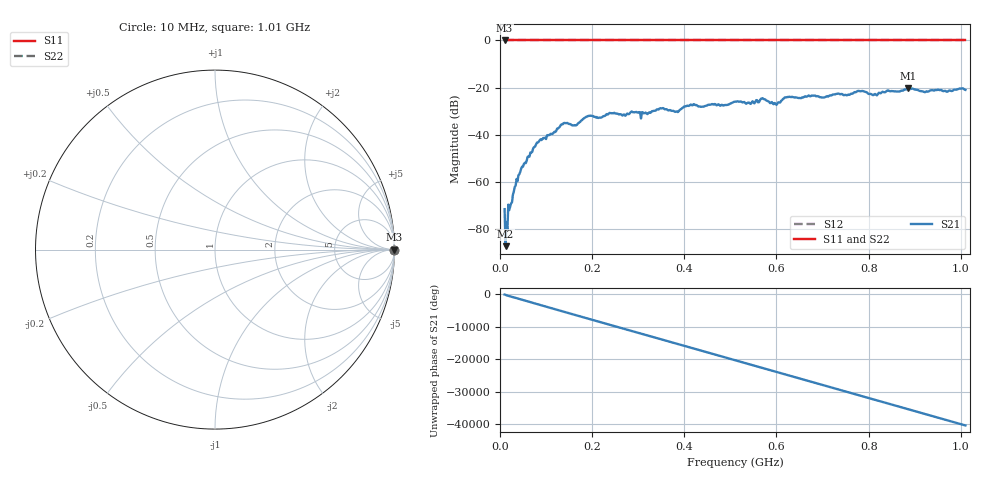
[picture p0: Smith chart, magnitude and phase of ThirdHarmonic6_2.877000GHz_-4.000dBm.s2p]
! 8/17/2025 7:52:46 AM
! C:\ANRITSUVNA\TEMP\TEMP.S2P
! CHANNEL.1
! TR.MEASUREMENT
! RAW.DATA
! RF.CORRECTION.OFF
! AVERAGING.OFF
! IF.BANDWIDTH: 5KHZ
! SWEEPTYPE:  FREQ.SWEEP(Linear)
! Reference Plane Port Info
! PORT:  PORT1  PORT2
! DISTANCE:  0  m  0  m
! TIME:  0  s  0  s
! PHASE.OFFSET:  0  deg.  0  deg.
! LOSS:  0  dB  0  dB
! REF.LOSS:  0  dB  0  dB
! REF.FREQ:  0  Hz  0  Hz
! Power Info
! POWER:  -20  dBm  -20  dBm
! EFF.POWER:  -20  dBm  -20  dBm
! SOURCE.ATTEN:  0  dB  0  dB
! TEST.ATTEN:  0  dB  0  dB
# GHZ S RI R 50.0
! FREQ.GHZ  S11RE  S11IM  S21RE  S21IM  S12RE  S12IM  S22RE  S22IM
!; PortSelection: Port_12
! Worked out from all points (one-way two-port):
!   501 points, 10 MHz to 1.01 GHz, reference 50 ohm
!   highest |S21| = -20.29 dB at 886 MHz (marker M1); lowest = -87.4 dB at 12 MHz (marker M2)
!   lowest |S11| = 0.0 dB at 10 MHz (marker M3)
!   |S11| at or under -10 dB: nowhere
!   |S22| runs from 0.0 to 0.0 dB; largest |S21 - S12| = 1.1
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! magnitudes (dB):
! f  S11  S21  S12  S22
! 10 MHz  0.0  -71.7  0.0  0.0
! 12 MHz  0.0  -87.4  0.0  0.0
! 16 MHz  0.0  -80.9  0.0  0.0
! 32 MHz  0.0  -62.2  0.0  0.0
! 44 MHz  0.0  -55.8  0.0  0.0
! 76 MHz  0.0  -45.2  0.0  0.0
! 136 MHz  0.0  -35.6  0.0  0.0
! 162 MHz  0.0  -36.0  0.0  0.0
! 178 MHz  0.0  -33.8  0.0  0.0
! 194 MHz  0.0  -32.0  0.0  0.0
! 310 MHz  0.0  -30.5  0.0  0.0
! 344 MHz  0.0  -29.4  0.0  0.0
! 384 MHz  0.0  -30.2  0.0  0.0
! 416 MHz  0.0  -27.5  0.0  0.0
! 510 MHz  0.0  -26.0  0.0  0.0
! 570 MHz  0.0  -24.5  0.0  0.0
! 598 MHz  0.0  -26.8  0.0  0.0
! 622 MHz  0.0  -24.1  0.0  0.0
! 678 MHz  0.0  -23.4  0.0  0.0
! 844 MHz  0.0  -21.4  0.0  0.0
! 886 MHz  0.0  -20.3  0.0  0.0
! 1.01 GHz  0.0  -21.0  0.0  0.0
